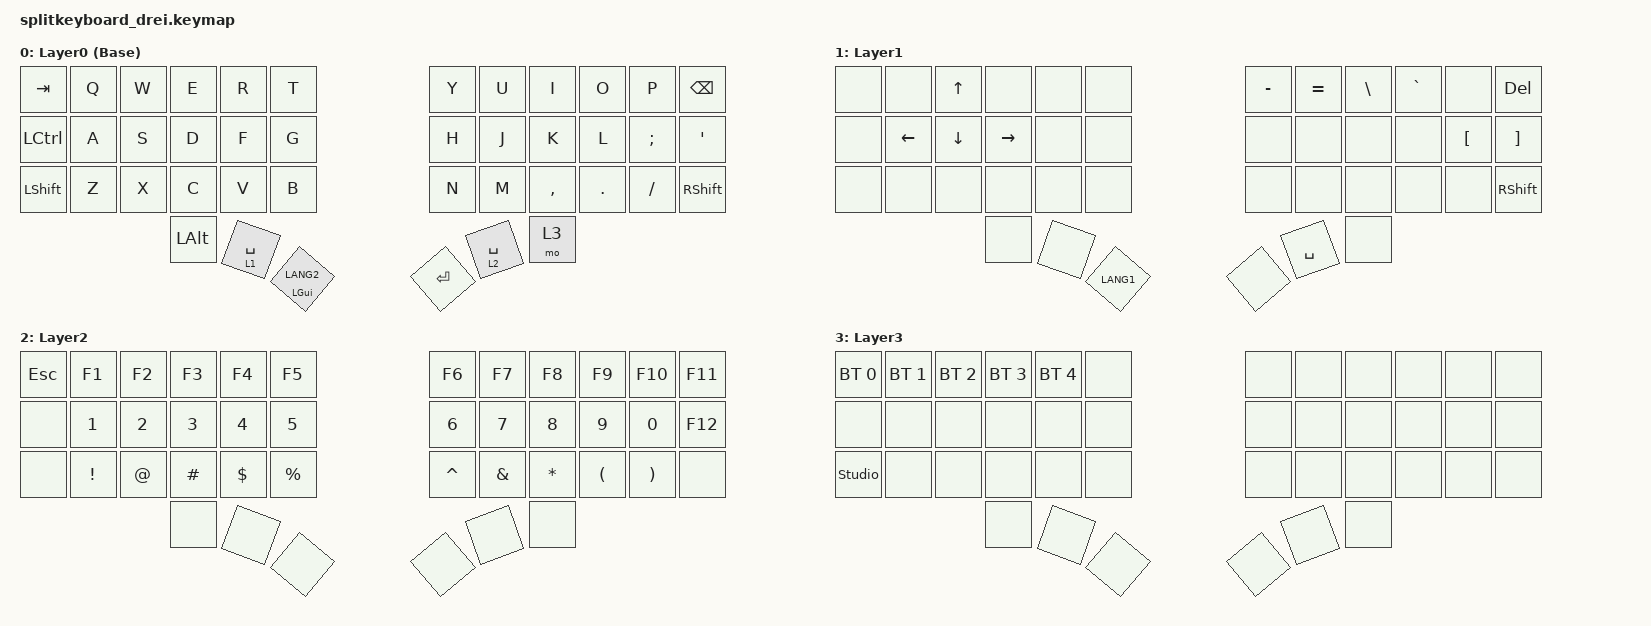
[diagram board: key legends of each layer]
#include <behaviors.dtsi>
#include <dt-bindings/zmk/keys.h>
#include <dt-bindings/zmk/bt.h>

/ {
    keymap {
        compatible = "zmk,keymap";

        default_layer {
            display-name = "Layer0 (Base)";

            // ---------------------------------------------------------------------------------------------------------------------
            // | TAB    | Q | W | E     | R              | T              |    | Y     | U              | I        | O | P | BSPC   |
            // | CTRL   | A | S | D     | F              | G              |    | H     | J              | K        | L | ; | '      |
            // | LSHIFT | Z | X | C     | V              | B              |    | N     | M              | ,        | . | / | RSHIFT |
            //                  | LALT  | SPACE (Layer1) | LANG2 (英語)   |    | Enter | SPACE (Layer2) | (Layer3) |
            bindings = <
                &kp TAB    &kp Q  &kp W  &kp E    &kp R        &kp T             &kp Y      &kp U        &kp I      &kp O       &kp P     &kp BSPC
                &kp LCTRL  &kp A  &kp S  &kp D    &kp F        &kp G             &kp H      &kp J        &kp K      &kp L       &kp SEMI  &kp SQT
                &kp LSHIFT &kp Z  &kp X  &kp C    &kp V        &kp B             &kp N      &kp M        &kp COMMA  &kp PERIOD  &kp FSLH  &kp RSHIFT
                                         &kp LALT &lt 1 SPACE  &mt LGUI LANG2    &kp ENTER  &lt 2 SPACE  &mo 3
            >;
        };

        Layer1 {
            display-name = "Layer1";
            
            // --------------------------------------------------------
            // |   |   | ↑ |   |   |                |    | - | =     | \ | ` |   | Del    |
            // |   | ← | ↓ | → |   |                |    |   |       |   |   | [ | ]      |
            // |   |   |   |   |   |                |    |   |       |   |   |   | RSHIFT |
            //             |   |   | LANG1 (日本語) |    |   | SPACE |   |
            bindings = <
                &none  &none     &kp UP    &none      &none  &none     &kp MINUS  &kp EQUAL  &kp BSLH  &kp GRAVE  &none    &kp DEL
                &none  &kp LEFT  &kp DOWN  &kp RIGHT  &none  &none     &none      &none      &none     &none      &kp LBKT &kp RBKT
                &none  &none     &none     &none      &none  &none     &none      &none      &none     &none      &none    &kp RSHIFT
                                           &none      &none  &kp LANG1 &none      &kp SPACE  &none
            >;
        };

        Layer2 {
            display-name = "Layer2";
            
            // --------------------------------------------------------------------
            // | ESC | F1 | F2 | F3 | F4 | F5 |    | F6 | F7 | F8 | F9 | F10 | F11 |
            // |     | 1  | 2  | 3  | 4  | 5  |    | 6  | 7  | 8  | 9  | 0   | F12 |
            // |     | !  | @  | #  | $  | %  |    | ^  | &  | *  | (  | )   |     |
            //                 |    |    |    |    |    |    |    |
            bindings = <
                &kp ESC  &kp F1   &kp F2  &kp F3   &kp F4   &kp F5      &kp F6    &kp F7   &kp F8   &kp F9   &kp F10  &kp F11
                &none    &kp N1   &kp N2  &kp N3   &kp N4   &kp N5      &kp N6    &kp N7   &kp N8   &kp N9   &kp N0   &kp F12
                &none    &kp EXCL &kp AT  &kp HASH &kp DLLR &kp PRCNT   &kp CARET &kp AMPS &kp STAR &kp LPAR &kp RPAR &none
                                          &none    &none    &none       &none     &none    &none
            >;
        };

        Layer3 {
            display-name = "Layer3";
            
            bindings = <
                &bt BT_SEL 0   &bt BT_SEL 1  &bt BT_SEL 2  &bt BT_SEL 3  &bt BT_SEL 4  &none    &none  &none  &none  &none  &none  &none
                &none          &none         &none         &none         &none         &none    &none  &none  &none  &none  &none  &none
                &studio_unlock &none         &none         &none         &none         &none    &none  &none  &none  &none  &none  &none
                                                           &none         &none         &none    &none  &none  &none
            >;
        };
    };
 };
